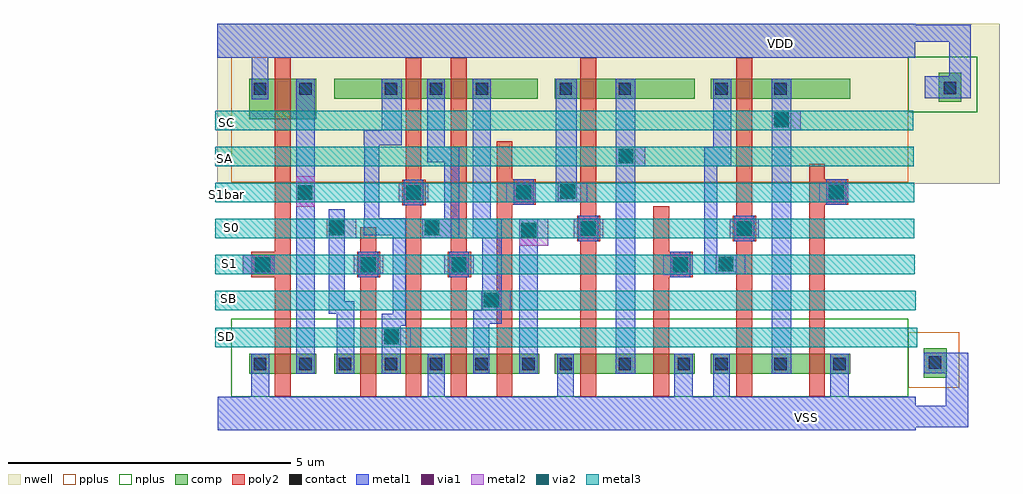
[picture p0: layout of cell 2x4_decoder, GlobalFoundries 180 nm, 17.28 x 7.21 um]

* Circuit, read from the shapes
.subckt 2x4_decoder S0 S1 S1bar SA SB SC SD VDD VSS
XM1 S1bar S1 VSS VSS nfet_03v3 w=0.36u l=0.28u
XM2 SD S1 S0 VSS nfet_03v3 w=0.36u l=0.28u
XM3 VSS S1bar SD VSS nfet_03v3 w=0.36u l=0.28u
XM4 SB S1 VSS VSS nfet_03v3 w=0.36u l=0.28u
XM5 S0 S1bar SB VSS nfet_03v3 w=0.36u l=0.28u
XM6 SA S0 VSS VSS nfet_03v3 w=0.36u l=0.28u
XM7 VSS S1 SA VSS nfet_03v3 w=0.36u l=0.28u
XM8 SC S0 VSS VSS nfet_03v3 w=0.36u l=0.28u
XM9 VSS S1bar SC VSS nfet_03v3 w=0.36u l=0.28u
XM10 S1bar S1 VDD VDD pfet_03v3 w=0.72u l=0.28u
XM11 S0 S1bar SD VDD pfet_03v3 w=0.36u l=0.28u
XM12 SB S1 S0 VDD pfet_03v3 w=0.36u l=0.28u
XM13 SA S0 S1bar VDD pfet_03v3 w=0.36u l=0.28u
XM14 SC S0 S1 VDD pfet_03v3 w=0.36u l=0.28u
.ends

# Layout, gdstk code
import gdstk
lib = gdstk.Library(unit=1e-6, precision=5e-09)
def R(c, l, rs):  # rectangles x0, y0, x1, y1
    for r in rs: c.add(gdstk.rectangle(r[:2], r[2:], *l))
def A(c, l, x, y, w, h, nx, ny, dx, dy):  # array of equal rectangles
    R(c, l, [(x+i*dx, y+j*dy, x+i*dx+w, y+j*dy+h) for i in range(nx) for j in range(ny)])
def P(c, l, *ps):  # polygons
    for p in ps: c.add(gdstk.Polygon(p, *l))
nwell = (21, 0)
comp = (22, 0)
poly2 = (30, 0)
pplus = (31, 0)
nplus = (32, 0)
contact = (33, 0)
metal1 = (34, 0)
via1 = (35, 0)
metal2 = (36, 0)
via2 = (38, 0)
metal3 = (42, 0)

c_2x4_decoder = lib.new_cell('2x4_decoder')
R(c_2x4_decoder, nwell, [(-5.85,-1.25,8,1.58)])
R(c_2x4_decoder, comp, [(6.655,-4.685,7.065,-4.165), (-5.28,-4.62,-4.1,-4.26), (-3.775,-4.62,-0.15,-4.26), (0.13,-4.62,2.6,-4.26), (2.89,-4.62,5.36,-4.26), (-5.28,-0.11,-4.1,0.61), (6.925,0.2,7.325,0.71), (-3.775,0.25,-0.175,0.61), (0.13,0.25,2.6,0.61), (2.89,0.25,5.36,0.61)])
R(c_2x4_decoder, poly2, [(-3.315,-5.02,-3.035,-2.02), (-2.515,-5.02,-2.235,0.98), (-1.715,-5.02,-1.435,0.98), (-0.905,-5.02,-0.625,-0.5), (0.58,-5.02,0.86,0.98), (3.34,-5.02,3.62,0.98), (-4.83,-5.015,-4.55,0.99), (1.87,-5.015,2.15,-1.65), (4.63,-5.015,4.91,-0.9), (-5.245,-2.91,-4.83,-2.46), (-3.375,-2.91,-2.96,-2.46), (-1.77,-2.91,-1.355,-2.46), (2.15,-2.91,2.565,-2.46), (0.52,-2.27,0.935,-1.82), (3.28,-2.27,3.695,-1.82), (-2.575,-1.63,-2.16,-1.18), (-0.625,-1.625,-0.21,-1.175), (4.91,-1.625,5.325,-1.175)])
R(c_2x4_decoder, pplus, [(6.385,-4.86,7.29,-3.88), (-5.6,-1.225,6.385,0.985)])
R(c_2x4_decoder, nplus, [(-5.6,-5.02,6.385,-3.64), (6.385,0.015,7.605,0.995)])
A(c_2x4_decoder, contact, 0.21, -4.55, 0.22, 0.22, 3, 1, 1.045, 0)
A(c_2x4_decoder, contact, 2.97, -4.55, 0.22, 0.22, 3, 1, 1.045, 0)
R(c_2x4_decoder, contact, [(-5.2,-4.55,-4.98,-4.33), (-4.4,-4.55,-4.18,-4.33), (-3.695,-4.55,-3.475,-4.33), (-2.885,-4.55,-2.665,-4.33), (-2.085,-4.55,-1.865,-4.33), (-1.28,-4.55,-1.06,-4.33), (-0.45,-4.55,-0.23,-4.33), (6.75,-4.525,6.97,-4.305), (-5.155,-2.795,-4.935,-2.575), (-3.285,-2.795,-3.065,-2.575), (-3.285,-2.795,-3.065,-2.575), (-1.68,-2.795,-1.46,-2.575), (2.24,-2.795,2.46,-2.575), (0.61,-2.155,0.83,-1.935), (3.37,-2.155,3.59,-1.935), (-2.485,-1.515,-2.265,-1.295), (-0.535,-1.51,-0.315,-1.29), (5,-1.51,5.22,-1.29), (-5.2,0.32,-4.98,0.54), (-4.4,0.32,-4.18,0.54), (-2.885,0.32,-2.665,0.54), (-2.085,0.32,-1.865,0.54), (-1.275,0.32,-1.055,0.54), (0.21,0.32,0.43,0.54), (1.255,0.32,1.475,0.54), (2.97,0.32,3.19,0.54), (4.015,0.32,4.235,0.54), (7.015,0.335,7.235,0.555)])
R(c_2x4_decoder, metal1, [(-5.845,-5.62,6.515,-5.02), (-5.25,-5.62,-4.93,-4.265), (6.14,-5.565,7.055,-5.185), (7.05,-5.565,7.45,-4.245), (-2.125,-5.025,-1.82,-4.26), (0.17,-5.02,0.465,-4.26), (2.24,-5.02,2.57,-4.26), (2.93,-5.02,3.225,-4.26), (5,-5.02,5.33,-4.26), (-4.455,-4.62,-4.125,0.61), (-3.73,-4.62,-3.425,-3.55), (-2.94,-4.62,-2.605,-3.555), (-1.32,-4.62,-1.03,-3.495), (-0.505,-4.62,-0.175,-1.87), (1.205,-4.62,1.555,0.61), (3.965,-4.62,4.315,0.61), (6.655,-4.605,7.2,-4.245), (-2.94,-3.765,-2.515,-3.555), (-2.745,-3.765,-2.515,-1.86), (-1.32,-3.73,-0.91,-3.495), (-1.16,-3.73,-0.81,-1.87), (-3.88,-3.55,-3.59,-1.7), (-3.865,-3.55,-3.425,-3.335), (-3.35,-2.91,-3,-2.46), (-1.745,-2.91,-1.395,-2.46), (2.175,-2.91,2.525,-2.46), (-5.4,-2.855,-4.83,-2.51), (2.775,-2.855,3.34,-2.51), (2.775,-2.855,3.005,-0.605), (0.545,-2.27,0.895,-1.82), (3.305,-2.27,3.655,-1.82), (-2.22,-2.215,-1.565,-1.87), (-1.835,-2.215,-1.565,-0.6), (-1.33,-2.215,-1.01,0.61), (-3.255,-2.16,-2.515,-1.86), (-3.25,-2.16,-2.985,-0.305), (-2.55,-1.63,-2.2,-1.18), (-0.6,-1.625,-0.25,-1.175), (4.935,-1.625,5.285,-1.175), (0.145,-1.575,0.515,0.61), (2.935,-0.945,3.25,0.61), (-2.135,-0.875,-1.565,-0.6), (-2.135,-0.6,-1.82,0.61), (-3.255,-0.57,-2.58,-0.305), (-2.935,-0.57,-2.58,0.61), (-5.235,0.245,-4.945,1.585), (6.68,0.26,7.49,0.65), (7.11,0.26,7.49,1.565), (-5.85,0.98,6.51,1.58), (6.115,1.26,7.49,1.565)])
P(c_2x4_decoder, metal1, [(-9.28,-4.66),(-9.28,-4.66),(-9.28,-4.66),(-9.28,-4.66)])
R(c_2x4_decoder, via1, [(-2.895,-4.09,-2.635,-3.83), (-2.895,-4.09,-2.635,-3.83), (-1.13,-3.44,-0.87,-3.18), (-1.13,-3.44,-0.87,-3.18), (-5.175,-2.815,-4.915,-2.555), (-3.305,-2.815,-3.045,-2.555), (-3.305,-2.815,-3.045,-2.555), (-1.7,-2.815,-1.44,-2.555), (2.22,-2.815,2.48,-2.555), (3.025,-2.8,3.285,-2.54), (-0.465,-2.205,-0.205,-1.945), (0.59,-2.175,0.85,-1.915), (3.35,-2.175,3.61,-1.915), (-3.865,-2.16,-3.605,-1.9), (-2.175,-2.16,-1.915,-1.9), (-4.425,-1.535,-4.165,-1.275), (-2.505,-1.535,-2.245,-1.275), (-0.555,-1.53,-0.295,-1.27), (4.98,-1.53,5.24,-1.27), (0.225,-1.52,0.485,-1.26), (1.255,-0.89,1.515,-0.63), (4.01,-0.25,4.27,0.01)])
R(c_2x4_decoder, metal2, [(-2.94,-4.145,-2.42,-3.8), (-2.94,-4.145,-2.42,-3.8), (-1.175,-3.495,-0.655,-3.15), (-1.175,-3.495,-0.655,-3.15), (2.045,-2.86,2.565,-2.515), (-5.4,-2.855,-4.83,-2.51), (-3.435,-2.855,-2.915,-2.51), (-1.83,-2.855,-1.31,-2.51), (2.98,-2.855,3.5,-2.51), (-0.505,-2.35,0.015,-1.87), (-3.91,-2.215,-3.39,-1.87), (-2.22,-2.215,-1.7,-1.87), (0.46,-2.215,0.98,-1.87), (3.22,-2.215,3.74,-1.87), (-4.455,-1.66,-4.125,-1.12), (-2.635,-1.575,-2.115,-1.23), (-0.73,-1.575,-0.21,-1.23), (0.18,-1.575,0.7,-1.23), (4.805,-1.575,5.325,-1.23), (1.21,-0.945,1.73,-0.6), (3.965,-0.305,4.485,0.04)])
R(c_2x4_decoder, via2, [(-2.895,-4.09,-2.635,-3.83), (-2.895,-4.09,-2.635,-3.83), (-1.13,-3.44,-0.87,-3.18), (-1.13,-3.44,-0.87,-3.18), (-5.175,-2.815,-4.915,-2.555), (-3.305,-2.815,-3.045,-2.555), (-3.305,-2.815,-3.045,-2.555), (-1.7,-2.815,-1.44,-2.555), (2.22,-2.815,2.48,-2.555), (3.025,-2.8,3.285,-2.54), (-0.465,-2.205,-0.205,-1.945), (0.59,-2.175,0.85,-1.915), (3.35,-2.175,3.61,-1.915), (-3.865,-2.16,-3.605,-1.9), (-2.175,-2.16,-1.915,-1.9), (-4.425,-1.535,-4.165,-1.275), (-2.505,-1.535,-2.245,-1.275), (-0.555,-1.53,-0.295,-1.27), (4.98,-1.53,5.24,-1.27), (0.225,-1.52,0.485,-1.26), (1.255,-0.89,1.515,-0.63), (4.01,-0.25,4.27,0.01)])
R(c_2x4_decoder, metal3, [(-5.885,-4.145,6.545,-3.8), (-5.885,-3.495,6.52,-3.15), (-5.885,-2.855,6.5,-2.51), (-5.885,-2.215,6.495,-1.87), (-5.885,-1.575,6.49,-1.23), (-5.885,-0.945,6.48,-0.6), (-5.885,-0.305,6.475,0.04)])
c_2x4_decoder.add(gdstk.Label('SD', (-5.685,-3.965), layer=42, texttype=10))
c_2x4_decoder.add(gdstk.Label('SB', (-5.65,-3.29), layer=42, texttype=10))
c_2x4_decoder.add(gdstk.Label('S1', (-5.635,-2.67), layer=42, texttype=10))
c_2x4_decoder.add(gdstk.Label('S0', (-5.59,-2.02), layer=42, texttype=10))
c_2x4_decoder.add(gdstk.Label('S1bar', (-5.68,-1.44), layer=42, texttype=10))
c_2x4_decoder.add(gdstk.Label('SA', (-5.715,-0.81), layer=42, texttype=10))
c_2x4_decoder.add(gdstk.Label('SC', (-5.68,-0.17), layer=42, texttype=10))
c_2x4_decoder.add(gdstk.Label('VSS', (4.575,-5.385), layer=34, texttype=10))
c_2x4_decoder.add(gdstk.Label('VDD', (4.12,1.24), layer=34, texttype=10))

lib.write_gds('2x4_decoder.gds')
